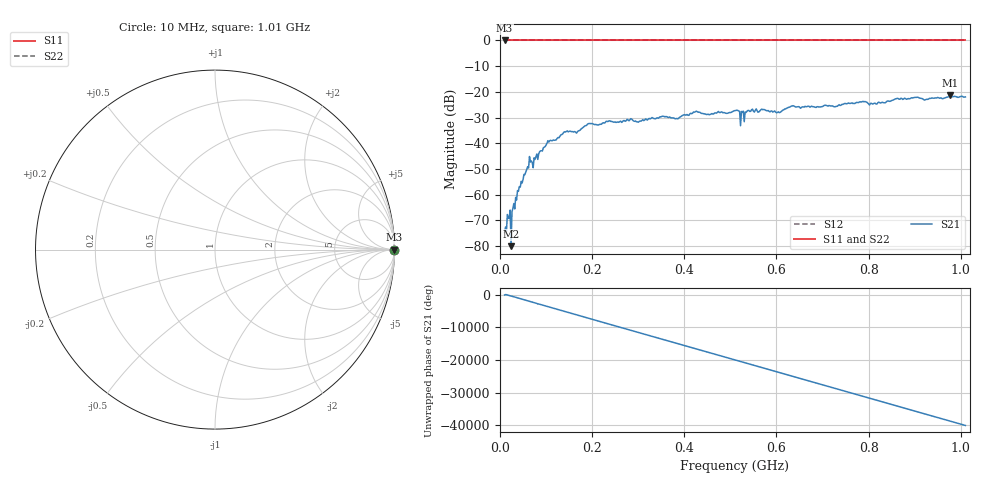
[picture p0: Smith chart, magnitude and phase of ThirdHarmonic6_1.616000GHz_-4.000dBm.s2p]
! 8/16/2025 7:17:19 PM
! C:\ANRITSUVNA\TEMP\TEMP.S2P
! CHANNEL.1
! TR.MEASUREMENT
! RAW.DATA
! RF.CORRECTION.OFF
! AVERAGING.OFF
! IF.BANDWIDTH: 5KHZ
! SWEEPTYPE:  FREQ.SWEEP(Linear)
! Reference Plane Port Info
! PORT:  PORT1  PORT2
! DISTANCE:  0  m  0  m
! TIME:  0  s  0  s
! PHASE.OFFSET:  0  deg.  0  deg.
! LOSS:  0  dB  0  dB
! REF.LOSS:  0  dB  0  dB
! REF.FREQ:  0  Hz  0  Hz
! Power Info
! POWER:  -20  dBm  -20  dBm
! EFF.POWER:  -20  dBm  -20  dBm
! SOURCE.ATTEN:  0  dB  0  dB
! TEST.ATTEN:  0  dB  0  dB
# GHZ S RI R 50.0
! FREQ.GHZ  S11RE  S11IM  S21RE  S21IM  S12RE  S12IM  S22RE  S22IM
!; PortSelection: Port_12
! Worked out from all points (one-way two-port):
!   501 points, 10 MHz to 1.01 GHz, reference 50 ohm
!   highest |S21| = -21.40 dB at 976 MHz (marker M1); lowest = -80.0 dB at 24 MHz (marker M2)
!   lowest |S11| = 0.0 dB at 10 MHz (marker M3)
!   |S11| at or under -10 dB: nowhere
!   |S22| runs from 0.0 to 0.0 dB; largest |S21 - S12| = 1.1
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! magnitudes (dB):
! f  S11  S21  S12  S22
! 10 MHz  0.0  -74.7  0.0  0.0
! 18 MHz  0.0  -69.0  0.0  0.0
! 24 MHz  0.0  -80.0  0.0  0.0
! 28 MHz  0.0  -65.4  0.0  0.0
! 30 MHz  0.0  -63.4  0.0  0.0
! 42 MHz  0.0  -56.8  0.0  0.0
! 64 MHz  0.0  -45.1  0.0  0.0
! 74 MHz  0.0  -45.6  0.0  0.0
! 106 MHz  0.0  -39.5  0.0  0.0
! 142 MHz  0.0  -35.6  0.0  0.0
! 178 MHz  0.0  -34.2  0.0  0.0
! 194 MHz  0.0  -32.3  0.0  0.0
! 344 MHz  0.0  -30.2  0.0  0.0
! 510 MHz  0.0  -27.3  0.0  0.0
! 526 MHz  0.0  -27.8  0.0  0.0
! 544 MHz  0.0  -27.6  0.0  0.0
! 604 MHz  0.0  -27.8  0.0  0.0
! 634 MHz  0.0  -25.5  0.0  0.0
! 678 MHz  0.0  -25.7  0.0  0.0
! 844 MHz  0.0  -23.6  0.0  0.0
! 976 MHz  0.0  -21.4  0.0  0.0
! 1.01 GHz  0.0  -22.0  0.0  0.0
